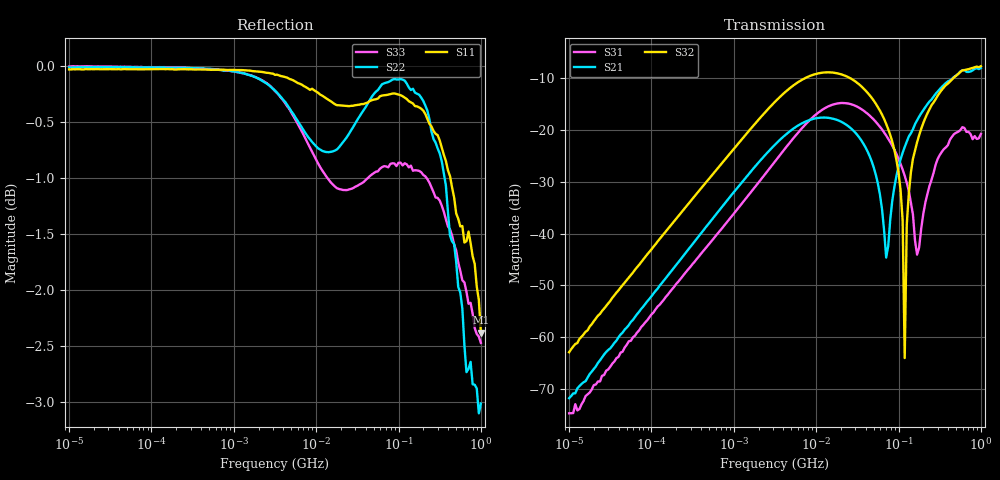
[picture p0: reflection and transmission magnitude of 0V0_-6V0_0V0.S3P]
!Keysight Technologies,E5080A,MY55100144,A.11.70.03
!Date: Monday, November 13, 2017 17:22:42
!Correction: S11(Full 3 Port(1,2,3))
!S12(Full 3 Port(1,2,3))
!S13(Full 3 Port(1,2,3))
!S21(Full 3 Port(1,2,3))
!S22(Full 3 Port(1,2,3))
!S23(Full 3 Port(1,2,3))
!S31(Full 3 Port(1,2,3))
!S32(Full 3 Port(1,2,3))
!S33(Full 3 Port(1,2,3))
!S3P File: Measurements: <S11,S12,S13>,
!<S21,S22,S23>,
!<S31,S32,S33>:Log Frequency Sweep
# Hz S  RI  R 50
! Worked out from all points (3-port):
!   201 points, 10 kHz to 1 GHz, reference 50 ohm
!   strongest paths, dB at 10 kHz, 177.8 kHz, 3.162 MHz, 56.23 MHz, 1 GHz:
!     S32: -62.9, -38.1, -14.5, -15.6, -7.7
!     S21: -71.8, -47.1, -22.8, -30.4, -8.0
!     S31: -74.7, -50.8, -26.1, -18.9, -20.8
!   lowest |S11| = -2.4 dB at 1 GHz (marker M1), VSWR 7.35, Z = 367 + j12.2 ohm
!   |S11| at or under -10 dB: nowhere
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10000  0.9969 -0.00147  2.73e-05 0.000258  2.46e-05 0.000176
       1.93e-05 0.000256  0.9989 -0.00346  -1.41e-05 0.00072
       -4.44e-06 0.000183  1.82e-05 0.000713  0.9998 -0.00247
3162278  0.8963 -0.4235  0.0385 0.0612  0.0118 0.0481
         0.0384 0.0611  0.6673 -0.7117  0.0994 0.1588
         0.012 0.0482  0.0996 0.1587  0.9349 -0.2762
1.412538e7  -0.00661 -0.9661  0.1306 -0.0078  0.1573 0.0631
            0.1307 -0.00787  -0.531 -0.7459  0.3608 -0.0121
            0.1574 0.063  0.3606 -0.012  0.4521 -0.767
6.309573e7  -0.936 -0.256  0.0096 -0.0139  0.0452 -0.0905
            0.00983 -0.014  -0.9818 0.00735  0.0436 -0.1338
            0.045 -0.0905  0.0435 -0.1337  -0.7199 -0.5428
1.059254e8  -0.9696 0.0489  0.0108 0.051  0.00393 -0.0468
            0.0108 0.051  -0.9365 0.3118  -0.00138 -0.0261
            0.00398 -0.0467  -0.00136 -0.0261  -0.8868 -0.1844
1.188502e8  -0.9611 0.1186  0.0184 0.0661  0.001 -0.0361
            0.0184 0.066  -0.907 0.3855  0.000363 -0.000527
            0.00106 -0.0362  0.000346 -0.000522  -0.8993 -0.1031
1.258925e8  -0.9546 0.1542  0.0233 0.0736  0.000102 -0.0308
            0.0234 0.0736  -0.8868 0.4229  0.00315 0.0118
            0.00012 -0.0309  0.00313 0.0118  -0.9022 -0.0605
1.678804e8  -0.9004 0.3323  0.0597 0.1082  0.00452 -0.00439
            0.0597 0.1082  -0.7628 0.6028  0.0338 0.0681
            0.00451 -0.00433  0.0337 0.0681  -0.8869 0.1444
5.308844e8  0.00575 0.855  0.3252 -0.1261  0.0707 -0.0655
            0.3253 -0.1263  0.5019 0.6194  0.3336 -0.1003
            0.0707 -0.0655  0.3334 -0.1001  -0.1354 0.8062
1e9  0.7605 0.00699  -0.0933 -0.3865  -0.0563 -0.0724
     -0.0937 -0.3866  0.5909 -0.3885  -0.045 -0.4112
     -0.0563 -0.0723  -0.0447 -0.4112  0.6859 0.3098
